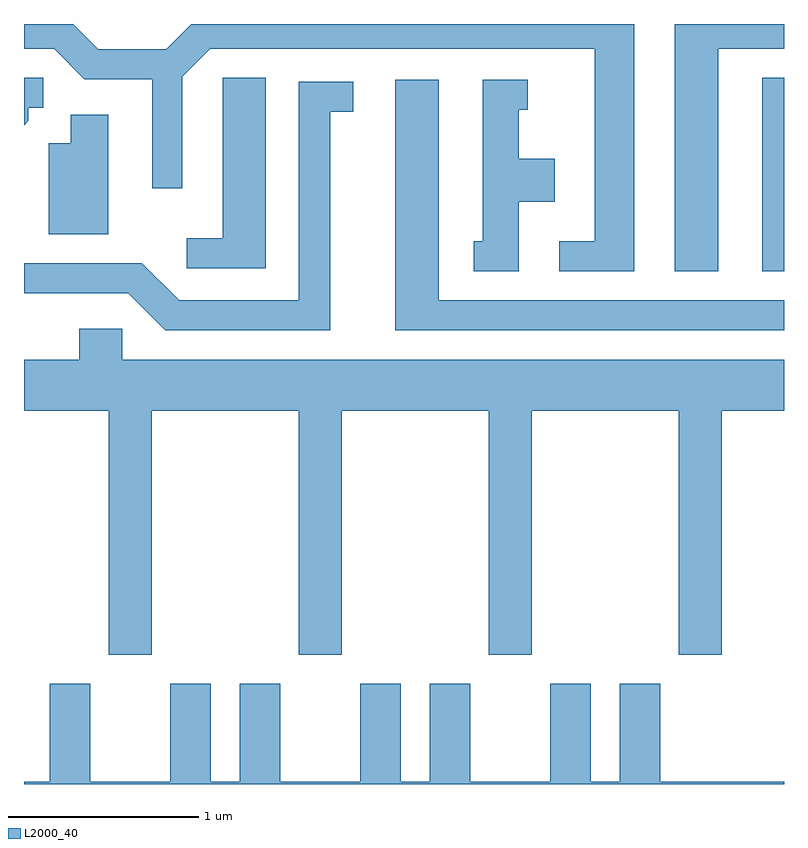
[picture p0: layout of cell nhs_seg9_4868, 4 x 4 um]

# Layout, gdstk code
import gdstk
lib = gdstk.Library(unit=1e-6, precision=1e-09)
def R(c, l, rs):  # rectangles x0, y0, x1, y1
    for r in rs: c.add(gdstk.rectangle(r[:2], r[2:], *l))
def P(c, l, *ps):  # polygons
    for p in ps: c.add(gdstk.Polygon(p, *l))
L2000_40 = (2000, 40)

nhs_seg9_4868 = lib.new_cell('nhs_seg9_4868')
R(nhs_seg9_4868, L2000_40, [(331.496,2079.131,331.611,2080.149)])
P(nhs_seg9_4868, L2000_40, [(331.264,2080.301),(331.611,2080.301),(331.611,2080.432),(331.036,2080.432),(331.036,2079.131),(331.264,2079.131)],
  [(330.824,2080.432),(328.492,2080.432),(328.359,2080.299),(328.002,2080.299),(327.869,2080.432),(327.611,2080.432),(327.611,2080.301),(327.769,2080.301),(327.929,2080.141),(328.286,2080.141),(328.286,2079.568),(328.444,2079.568),(328.444,2080.154),(328.592,2080.301),(330.616,2080.301),(330.616,2079.289),(330.428,2079.289),(330.428,2079.131),(330.824,2079.131)],
  [(327.634,2079.923),(327.634,2079.991),(327.713,2079.991),(327.713,2080.149),(327.611,2080.149),(327.611,2079.9)],
  [(328.884,2080.149),(328.656,2080.149),(328.656,2079.304),(328.468,2079.304),(328.468,2079.146),(328.884,2079.146)],
  [(330.214,2079.496),(330.404,2079.496),(330.404,2079.724),(330.214,2079.724),(330.214,2079.981),(330.263,2079.981),(330.263,2080.139),(330.026,2080.139),(330.026,2079.289),(329.978,2079.289),(329.978,2079.131),(330.214,2079.131)],
  [(331.611,2078.979),(329.794,2078.979),(329.794,2080.139),(329.566,2080.139),(329.566,2078.821),(331.611,2078.821)],
  [(329.224,2079.971),(329.343,2079.971),(329.343,2080.129),(329.056,2080.129),(329.056,2078.979),(328.427,2078.979),(328.232,2079.174),(327.611,2079.174),(327.611,2079.016),(328.159,2079.016),(328.354,2078.821),(329.224,2078.821)],
  [(328.054,2079.954),(327.856,2079.954),(327.856,2079.804),(327.741,2079.804),(327.741,2079.326),(328.054,2079.326)],
  [(328.284,2078.396),(329.056,2078.396),(329.056,2077.111),(329.284,2077.111),(329.284,2078.396),(330.056,2078.396),(330.056,2077.111),(330.284,2077.111),(330.284,2078.396),(331.056,2078.396),(331.056,2077.111),(331.284,2077.111),(331.284,2078.396),(331.611,2078.396),(331.611,2078.664),(328.129,2078.664),(328.129,2078.829),(327.901,2078.829),(327.901,2078.664),(327.611,2078.664),(327.611,2078.396),(328.056,2078.396),(328.056,2077.111),(328.284,2077.111)],
  [(331.611,2076.444),(330.959,2076.444),(330.959,2076.959),(330.746,2076.959),(330.746,2076.444),(330.594,2076.444),(330.594,2076.959),(330.381,2076.959),(330.381,2076.444),(329.959,2076.444),(329.959,2076.959),(329.746,2076.959),(329.746,2076.444),(329.594,2076.444),(329.594,2076.959),(329.381,2076.959),(329.381,2076.444),(328.959,2076.444),(328.959,2076.959),(328.746,2076.959),(328.746,2076.444),(328.594,2076.444),(328.594,2076.959),(328.381,2076.959),(328.381,2076.444),(327.959,2076.444),(327.959,2076.959),(327.746,2076.959),(327.746,2076.444),(327.611,2076.444),(327.611,2076.432),(331.611,2076.432)])

lib.write_gds('nhs_seg9_4868.gds')
